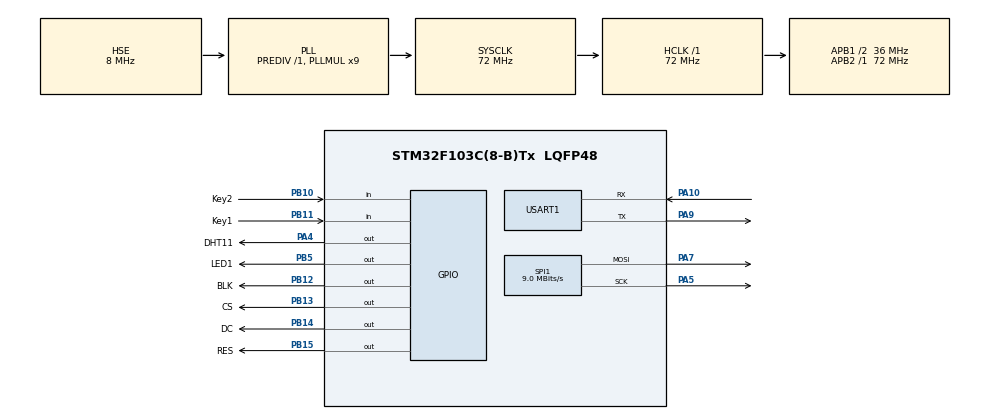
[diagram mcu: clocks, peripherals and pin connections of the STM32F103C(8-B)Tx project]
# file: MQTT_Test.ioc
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Dma.Request0=USART1_RX
Dma.Request1=USART1_TX
Dma.Request2=SPI1_TX
Dma.SPI1_TX.2.Direction=DMA_MEMORY_TO_PERIPH
Dma.SPI1_TX.2.Instance=DMA1_Channel3
Dma.SPI1_TX.2.MemDataAlignment=DMA_MDATAALIGN_BYTE
Dma.SPI1_TX.2.MemInc=DMA_MINC_ENABLE
Dma.SPI1_TX.2.Mode=DMA_NORMAL
Dma.SPI1_TX.2.PeriphDataAlignment=DMA_PDATAALIGN_BYTE
Dma.SPI1_TX.2.PeriphInc=DMA_PINC_DISABLE
Dma.SPI1_TX.2.Priority=DMA_PRIORITY_LOW
Dma.USART1_RX.0.Direction=DMA_PERIPH_TO_MEMORY
Dma.USART1_RX.0.Instance=DMA1_Channel5
Dma.USART1_RX.0.MemDataAlignment=DMA_MDATAALIGN_BYTE
Dma.USART1_RX.0.MemInc=DMA_MINC_ENABLE
Dma.USART1_RX.0.Mode=DMA_NORMAL
Dma.USART1_RX.0.PeriphDataAlignment=DMA_PDATAALIGN_BYTE
Dma.USART1_RX.0.PeriphInc=DMA_PINC_DISABLE
Dma.USART1_RX.0.Priority=DMA_PRIORITY_LOW
Dma.USART1_TX.1.Direction=DMA_MEMORY_TO_PERIPH
Dma.USART1_TX.1.Instance=DMA1_Channel4
Dma.USART1_TX.1.MemDataAlignment=DMA_MDATAALIGN_BYTE
Dma.USART1_TX.1.MemInc=DMA_MINC_ENABLE
Dma.USART1_TX.1.Mode=DMA_NORMAL
Dma.USART1_TX.1.PeriphDataAlignment=DMA_PDATAALIGN_BYTE
Dma.USART1_TX.1.PeriphInc=DMA_PINC_DISABLE
Dma.USART1_TX.1.Priority=DMA_PRIORITY_LOW
Mcu.Family=STM32F1
Mcu.Name=STM32F103C(8-B)Tx
Mcu.Package=LQFP48
NVIC.DMA1_Channel3_IRQn=true\:0\:0\:false\:false\:true\:false\:true\:true
NVIC.DMA1_Channel4_IRQn=true\:0\:0\:false\:false\:true\:false\:true\:true
NVIC.DMA1_Channel5_IRQn=true\:0\:0\:false\:false\:true\:false\:true\:true
NVIC.PriorityGroup=NVIC_PRIORITYGROUP_2
NVIC.USART1_IRQn=true\:1\:1\:true\:false\:true\:true\:true\:true
PA10.Mode=Asynchronous
PA10.Signal=USART1_RX
PA13.Mode=Serial_Wire
PA13.Signal=SYS_JTMS-SWDIO
PA14.Mode=Serial_Wire
PA14.Signal=SYS_JTCK-SWCLK
PA4.GPIO_Label=DHT11
PA4.GPIO_Speed=GPIO_SPEED_FREQ_HIGH
PA4.PinState=GPIO_PIN_SET
PA4.Signal=GPIO_Output
PA5.Mode=TX_Only_Simplex_Unidirect_Master
PA5.Signal=SPI1_SCK
PA7.Mode=TX_Only_Simplex_Unidirect_Master
PA7.Signal=SPI1_MOSI
PA9.Mode=Asynchronous
PA9.Signal=USART1_TX
PB10.GPIO_Label=Key2
PB10.GPIO_PuPd=GPIO_PULLUP
PB10.Signal=GPIO_Input
PB11.GPIO_Label=Key1
PB11.GPIO_PuPd=GPIO_PULLUP
PB11.Signal=GPIO_Input
PB12.GPIO_Label=BLK
PB12.GPIO_Speed=GPIO_SPEED_FREQ_HIGH
PB12.PinState=GPIO_PIN_SET
PB12.Signal=GPIO_Output
PB13.GPIO_Label=CS
PB13.GPIO_Speed=GPIO_SPEED_FREQ_HIGH
PB13.PinState=GPIO_PIN_SET
PB13.Signal=GPIO_Output
PB14.GPIO_Label=DC
PB14.GPIO_Speed=GPIO_SPEED_FREQ_HIGH
PB14.PinState=GPIO_PIN_SET
PB14.Signal=GPIO_Output
PB15.GPIO_Label=RES
PB15.GPIO_Speed=GPIO_SPEED_FREQ_HIGH
PB15.PinState=GPIO_PIN_SET
PB15.Signal=GPIO_Output
PB5.GPIO_Label=LED1
PB5.Signal=GPIO_Output
PD0-OSC_IN.Mode=HSE-External-Oscillator
PD0-OSC_IN.Signal=RCC_OSC_IN
PD1-OSC_OUT.Mode=HSE-External-Oscillator
PD1-OSC_OUT.Signal=RCC_OSC_OUT
ProjectManager.HeapSize=0x200
ProjectManager.StackSize=0x400
ProjectManager.TargetToolchain=MDK-ARM V5.32
RCC.AHBFreq_Value=72000000
RCC.APB1CLKDivider=RCC_HCLK_DIV2
RCC.APB1Freq_Value=36000000
RCC.APB1TimFreq_Value=72000000
RCC.APB2Freq_Value=72000000
RCC.APB2TimFreq_Value=72000000
RCC.HCLKFreq_Value=72000000
RCC.PLLMUL=RCC_PLL_MUL9
RCC.PLLSourceVirtual=RCC_PLLSOURCE_HSE
RCC.SYSCLKFreq_VALUE=72000000
RCC.SYSCLKSource=RCC_SYSCLKSOURCE_PLLCLK
RCC.USBFreq_Value=72000000
SPI1.BaudRatePrescaler=SPI_BAUDRATEPRESCALER_8
SPI1.CalculateBaudRate=9.0 MBits/s
SPI1.Direction=SPI_DIRECTION_2LINES
SPI1.Mode=SPI_MODE_MASTER
SPI1.VirtualType=VM_MASTER
USART1.VirtualMode=VM_ASYNC
board=custom

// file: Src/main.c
/* USER CODE BEGIN Header */
/**
 ******************************************************************************
 * @file           : main.c
 * @brief          : Main program body
 ******************************************************************************
 * @attention
 *
 * Copyright (c) 2024 STMicroelectronics.
 * All rights reserved.
 *
 * This software is licensed under terms that can be found in the LICENSE file
 * in the root directory of this software component.
 * If no LICENSE file comes with this software, it is provided AS-IS.
 *
 ******************************************************************************
 */
/* USER CODE END Header */
#include "main.h"
#include "dma.h"
#include "spi.h"
#include "usart.h"
#include "gpio.h"

/* USER CODE BEGIN Includes */
#include "lcd.h"
#include "lcd_init.h"
#include "ESP01S.h"
#include "DHT11.h"
/* USER CODE END Includes */

/* USER CODE BEGIN PD */
#define Key1IN ((Key1_GPIO_Port->IDR & Key1_Pin) != (uint32_t)GPIO_PIN_RESET ? 1 : 0)
#define Key2IN ((Key2_GPIO_Port->IDR & Key2_Pin) != (uint32_t)GPIO_PIN_RESET ? 1 : 0)
/* USER CODE END PD */

/* USER CODE BEGIN PV */

uint8_t USART1_RX_BUF[USART_REC_LEN];
RX_DATA_STRUCT RX_DS;

uint8_t keycode = 0;
/* USER CODE END PV */

void SystemClock_Config(void);

/* USER CODE BEGIN 0 */
void KeyScan(void)
{
  if (!Key1IN)
  {
    HAL_Delay(10);
    while (!Key1IN)
    {
    }
    keycode = 1;
    HAL_Delay(10);
  }

  if (!Key2IN)
  {
    HAL_Delay(10);
    while (!Key2IN)
    {
    }
    keycode = 2;
    HAL_Delay(10);
  }

}
/* USER CODE END 0 */

int main(void)
{

  /* MCU Configuration--------------------------------------------------------*/

  /* Reset of all peripherals, Initializes the Flash interface and the Systick. */
  HAL_Init();

  /* Configure the system clock */
  SystemClock_Config();

  /* Initialize all configured peripherals */
  MX_GPIO_Init();
  MX_DMA_Init();
  MX_USART1_UART_Init();
  MX_SPI1_Init();
  /* USER CODE BEGIN 2 */
  __HAL_UART_DISABLE_IT(&huart1, UART_IT_RXNE);
  /* USER CODE END 2 */

  /* Infinite loop */
  /* USER CODE BEGIN WHILE */
  LCD_Init();
  LCD_Fill(0, 0, LCD_W, LCD_H, WHITE);
  // ESP_Init();
  while (1)
  {
    KeyScan();
    if (keycode)
    {
      switch (keycode)
      {
      case 1:
        ESP_Init();
        // HAL_GPIO_TogglePin(LED1_GPIO_Port, LED1_Pin);
        break;
      case 2:
        ESP_MQTT_Trans_DHT11();
        // HAL_GPIO_TogglePin(LED1_GPIO_Port, LED1_Pin);
        break;
      }
      keycode = 0;
    }

    // ESP_MQTT_Trans_DHT11();
    // LCD_ShowIntNum(00, 40, 12, 2, BLACK, WHITE, 16);

    // LCD_Fill(0, 0, LCD_W, 20, WHITE);
    // HAL_Delay(1000);

    /* USER CODE END WHILE */

  }
}

void SystemClock_Config(void)
{
  RCC_OscInitTypeDef RCC_OscInitStruct = {0};
  RCC_ClkInitTypeDef RCC_ClkInitStruct = {0};

  /** Initializes the RCC Oscillators according to the specified parameters
   * in the RCC_OscInitTypeDef structure.
   */
  RCC_OscInitStruct.OscillatorType = RCC_OSCILLATORTYPE_HSE;
  RCC_OscInitStruct.HSEState = RCC_HSE_ON;
  RCC_OscInitStruct.HSEPredivValue = RCC_HSE_PREDIV_DIV1;
  RCC_OscInitStruct.HSIState = RCC_HSI_ON;
  RCC_OscInitStruct.PLL.PLLState = RCC_PLL_ON;
  RCC_OscInitStruct.PLL.PLLSource = RCC_PLLSOURCE_HSE;
  RCC_OscInitStruct.PLL.PLLMUL = RCC_PLL_MUL9;
  if (HAL_RCC_OscConfig(&RCC_OscInitStruct) != HAL_OK)
  {
    Error_Handler();
  }

  /** Initializes the CPU, AHB and APB buses clocks
   */
  RCC_ClkInitStruct.ClockType = RCC_CLOCKTYPE_HCLK | RCC_CLOCKTYPE_SYSCLK | RCC_CLOCKTYPE_PCLK1 | RCC_CLOCKTYPE_PCLK2;
  RCC_ClkInitStruct.SYSCLKSource = RCC_SYSCLKSOURCE_PLLCLK;
  RCC_ClkInitStruct.AHBCLKDivider = RCC_SYSCLK_DIV1;
  RCC_ClkInitStruct.APB1CLKDivider = RCC_HCLK_DIV2;
  RCC_ClkInitStruct.APB2CLKDivider = RCC_HCLK_DIV1;

  if (HAL_RCC_ClockConfig(&RCC_ClkInitStruct, FLASH_LATENCY_2) != HAL_OK)
  {
    Error_Handler();
  }
}

void Error_Handler(void)
{
  __disable_irq();
  while (1)
  {
  }
}
